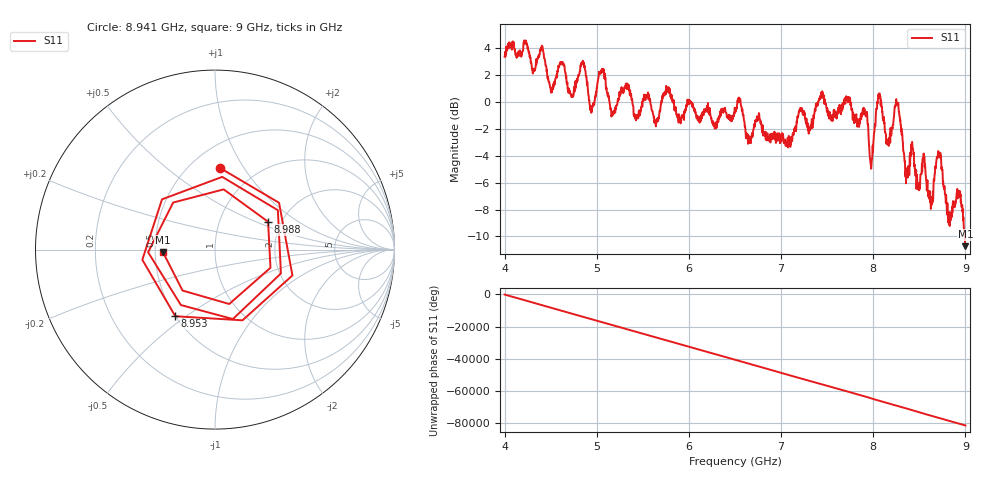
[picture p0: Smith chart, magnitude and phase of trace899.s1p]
! Created with skrf 1.8.0 (http://scikit-rf.org).
# Hz S RI R 50.0
!freq ReS11 ImS11
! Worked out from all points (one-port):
!   1601 points, 4 GHz to 9 GHz, reference 50 ohm
!   lowest |S11| = -10.7 dB at 9 GHz (marker M1), VSWR 1.82, Z = 27.5 - j0.751 ohm
!   |S11| at or under -10 dB: 8.993253 GHz to end of sweep
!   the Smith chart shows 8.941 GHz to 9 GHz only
!   S11 on the Smith chart (normalised r, x): 8.941 GHz: 0.69, +0.79; 8.953 GHz: 0.50, -0.46; 8.988 GHz: 1.71, +0.60; 9 GHz: 0.55, -0.02
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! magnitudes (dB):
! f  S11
! 4 GHz  3.4
! 4.403 GHz  4.2
! 4.509 GHz  1.0
! 4.625 GHz  2.9
! 4.725 GHz  0.4
! 4.853 GHz  2.8
! 4.947 GHz  -0.7
! 5.05 GHz  2.2
! 5.169 GHz  -0.8
! 5.25 GHz  0.5
! 5.875 GHz  -1.1
! 6.5 GHz  -0.6
! 7.125 GHz  -2.4
! 7.75 GHz  0.1
! 7.912 GHz  -0.9
! 7.978 GHz  -5.0
! 8.059 GHz  0.5
! 8.159 GHz  -2.9
! 8.256 GHz  -0.1
! 8.375 GHz  -5.6
! 8.547 GHz  -3.8
! 8.625 GHz  -7.9
! 8.709 GHz  -3.7
! 8.825 GHz  -8.2
! 8.941 GHz  -6.8
! 8.953 GHz  -7.3
! 8.988 GHz  -9.5
! 9 GHz  -10.7
